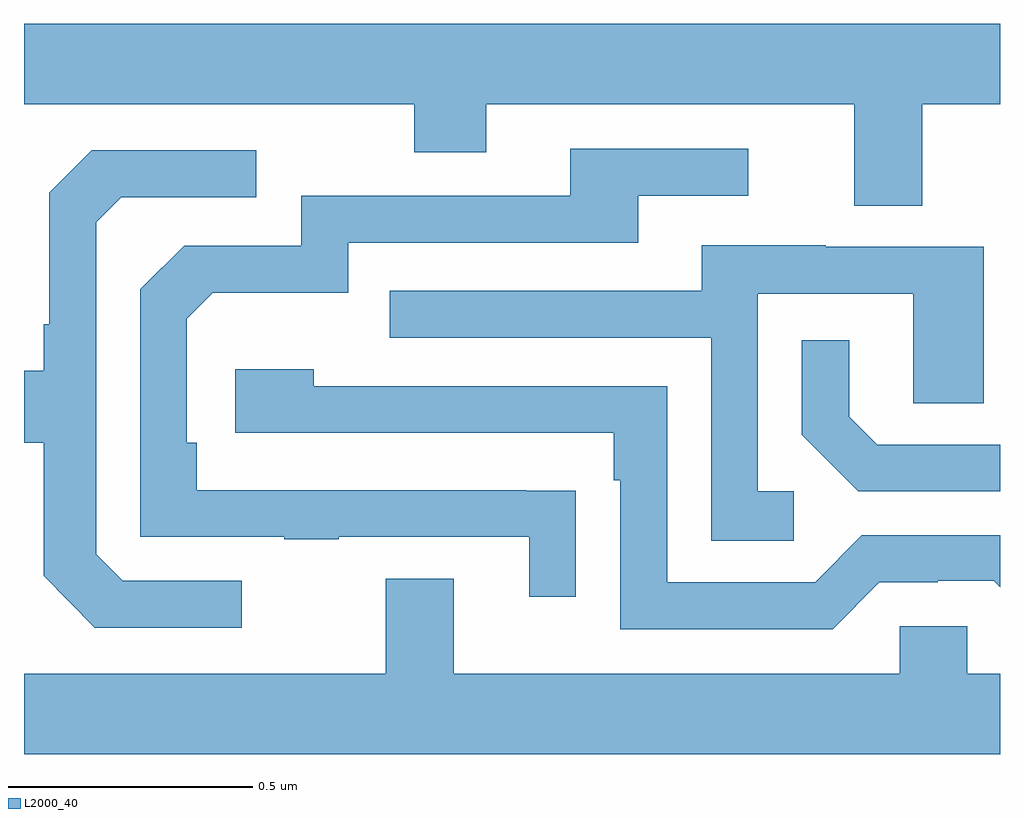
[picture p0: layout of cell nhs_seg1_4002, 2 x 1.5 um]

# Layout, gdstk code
import gdstk
lib = gdstk.Library(unit=1e-6, precision=1e-09)
def P(c, l, *ps):  # polygons
    for p in ps: c.add(gdstk.Polygon(p, *l))
L2000_40 = (2000, 40)

nhs_seg1_4002 = lib.new_cell('nhs_seg1_4002')
P(nhs_seg1_4002, L2000_40, [(162.841,515.768),(163,515.768),(163,515.932),(161,515.932),(161,515.768),(161.8,515.768),(161.8,515.669),(161.947,515.669),(161.947,515.768),(162.701,515.768),(162.701,515.56),(162.841,515.56)],
  [(162.131,514.976),(162.029,514.976),(162.029,514.977),(161.354,514.977),(161.354,515.074),(161.334,515.074),(161.334,515.328),(161.387,515.381),(161.664,515.381),(161.664,515.484),(162.259,515.484),(162.259,515.58),(162.484,515.58),(162.484,515.676),(162.119,515.676),(162.119,515.58),(161.568,515.58),(161.568,515.478),(161.328,515.478),(161.238,515.388),(161.238,514.881),(161.533,514.881),(161.533,514.876),(161.645,514.876),(161.645,514.881),(162.035,514.881),(162.035,514.758),(162.131,514.758)],
  [(161.446,514.791),(161.202,514.791),(161.148,514.845),(161.148,515.526),(161.199,515.577),(161.476,515.577),(161.476,515.673),(161.139,515.673),(161.052,515.586),(161.052,515.317),(161.04,515.317),(161.04,515.221),(161,515.221),(161,515.074),(161.04,515.074),(161.04,514.801),(161.145,514.695),(161.446,514.695)],
  [(162.577,514.974),(162.504,514.974),(162.504,515.379),(162.822,515.379),(162.822,515.155),(162.967,515.155),(162.967,515.475),(162.643,515.475),(162.643,515.479),(162.389,515.479),(162.389,515.385),(161.749,515.385),(161.749,515.289),(162.408,515.289),(162.408,514.873),(162.577,514.873)],
  [(163,515.07),(162.748,515.07),(162.691,515.127),(162.691,515.284),(162.594,515.284),(162.594,515.09),(162.71,514.974),(163,514.974)],
  [(162.753,514.788),(162.872,514.788),(162.872,514.791),(162.987,514.791),(163,514.778),(163,514.884),(162.717,514.884),(162.621,514.788),(162.318,514.788),(162.318,515.19),(161.594,515.19),(161.594,515.224),(161.433,515.224),(161.433,515.094),(162.209,515.094),(162.209,514.997),(162.222,514.997),(162.222,514.692),(162.657,514.692)],
  [(163,514.6),(162.933,514.6),(162.933,514.698),(162.795,514.698),(162.795,514.6),(161.881,514.6),(161.881,514.795),(161.741,514.795),(161.741,514.6),(161,514.6),(161,514.436),(163,514.436)])

lib.write_gds('nhs_seg1_4002.gds')
